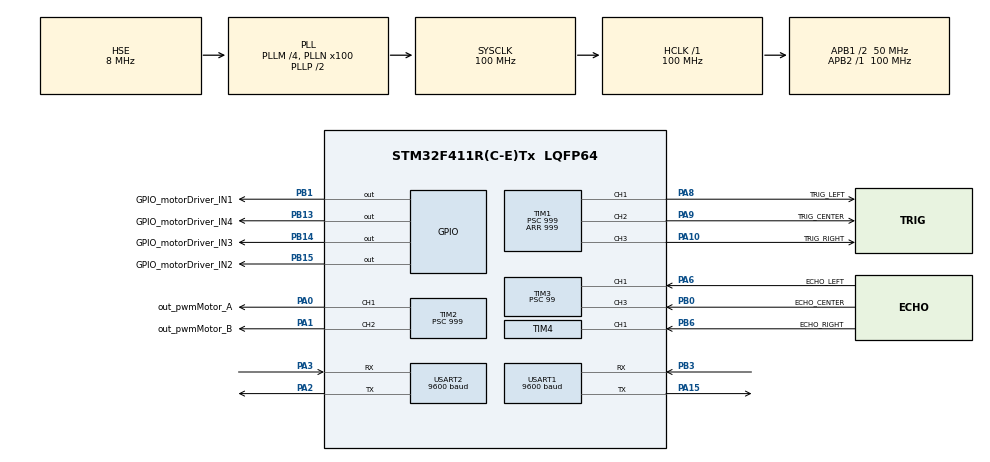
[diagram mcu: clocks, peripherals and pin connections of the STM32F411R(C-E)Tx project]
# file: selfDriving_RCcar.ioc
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Dma.Request0=USART1_RX
Dma.Request1=TIM3_CH1/TRIG
Dma.Request2=TIM3_CH2
Dma.Request3=TIM3_CH3
Dma.Request4=TIM3_CH4/UP
Dma.Request5=TIM4_CH1
Dma.Request6=TIM4_CH2
Dma.TIM3_CH1/TRIG.1.Direction=DMA_PERIPH_TO_MEMORY
Dma.TIM3_CH1/TRIG.1.FIFOMode=DMA_FIFOMODE_DISABLE
Dma.TIM3_CH1/TRIG.1.Instance=DMA1_Stream4
Dma.TIM3_CH1/TRIG.1.MemDataAlignment=DMA_MDATAALIGN_HALFWORD
Dma.TIM3_CH1/TRIG.1.MemInc=DMA_MINC_ENABLE
Dma.TIM3_CH1/TRIG.1.Mode=DMA_CIRCULAR
Dma.TIM3_CH1/TRIG.1.PeriphDataAlignment=DMA_PDATAALIGN_HALFWORD
Dma.TIM3_CH1/TRIG.1.PeriphInc=DMA_PINC_DISABLE
Dma.TIM3_CH1/TRIG.1.Priority=DMA_PRIORITY_LOW
Dma.TIM3_CH2.2.Direction=DMA_PERIPH_TO_MEMORY
Dma.TIM3_CH2.2.FIFOMode=DMA_FIFOMODE_DISABLE
Dma.TIM3_CH2.2.Instance=DMA1_Stream5
Dma.TIM3_CH2.2.MemDataAlignment=DMA_MDATAALIGN_HALFWORD
Dma.TIM3_CH2.2.MemInc=DMA_MINC_ENABLE
Dma.TIM3_CH2.2.Mode=DMA_CIRCULAR
Dma.TIM3_CH2.2.PeriphDataAlignment=DMA_PDATAALIGN_HALFWORD
Dma.TIM3_CH2.2.PeriphInc=DMA_PINC_DISABLE
Dma.TIM3_CH2.2.Priority=DMA_PRIORITY_LOW
Dma.TIM3_CH3.3.Direction=DMA_PERIPH_TO_MEMORY
Dma.TIM3_CH3.3.FIFOMode=DMA_FIFOMODE_DISABLE
Dma.TIM3_CH3.3.Instance=DMA1_Stream7
Dma.TIM3_CH3.3.MemDataAlignment=DMA_MDATAALIGN_HALFWORD
Dma.TIM3_CH3.3.MemInc=DMA_MINC_ENABLE
Dma.TIM3_CH3.3.Mode=DMA_CIRCULAR
Dma.TIM3_CH3.3.PeriphDataAlignment=DMA_PDATAALIGN_HALFWORD
Dma.TIM3_CH3.3.PeriphInc=DMA_PINC_DISABLE
Dma.TIM3_CH3.3.Priority=DMA_PRIORITY_LOW
Dma.TIM3_CH4/UP.4.Direction=DMA_PERIPH_TO_MEMORY
Dma.TIM3_CH4/UP.4.FIFOMode=DMA_FIFOMODE_DISABLE
Dma.TIM3_CH4/UP.4.Instance=DMA1_Stream2
Dma.TIM3_CH4/UP.4.MemDataAlignment=DMA_MDATAALIGN_HALFWORD
Dma.TIM3_CH4/UP.4.MemInc=DMA_MINC_ENABLE
Dma.TIM3_CH4/UP.4.Mode=DMA_CIRCULAR
Dma.TIM3_CH4/UP.4.PeriphDataAlignment=DMA_PDATAALIGN_HALFWORD
Dma.TIM3_CH4/UP.4.PeriphInc=DMA_PINC_DISABLE
Dma.TIM3_CH4/UP.4.Priority=DMA_PRIORITY_LOW
Dma.TIM4_CH1.5.Direction=DMA_PERIPH_TO_MEMORY
Dma.TIM4_CH1.5.FIFOMode=DMA_FIFOMODE_DISABLE
Dma.TIM4_CH1.5.Instance=DMA1_Stream0
Dma.TIM4_CH1.5.MemDataAlignment=DMA_MDATAALIGN_HALFWORD
Dma.TIM4_CH1.5.MemInc=DMA_MINC_ENABLE
Dma.TIM4_CH1.5.Mode=DMA_CIRCULAR
Dma.TIM4_CH1.5.PeriphDataAlignment=DMA_PDATAALIGN_HALFWORD
Dma.TIM4_CH1.5.PeriphInc=DMA_PINC_DISABLE
Dma.TIM4_CH1.5.Priority=DMA_PRIORITY_LOW
Dma.TIM4_CH2.6.Direction=DMA_PERIPH_TO_MEMORY
Dma.TIM4_CH2.6.FIFOMode=DMA_FIFOMODE_DISABLE
Dma.TIM4_CH2.6.Instance=DMA1_Stream3
Dma.TIM4_CH2.6.MemDataAlignment=DMA_MDATAALIGN_HALFWORD
Dma.TIM4_CH2.6.MemInc=DMA_MINC_ENABLE
Dma.TIM4_CH2.6.Mode=DMA_CIRCULAR
Dma.TIM4_CH2.6.PeriphDataAlignment=DMA_PDATAALIGN_HALFWORD
Dma.TIM4_CH2.6.PeriphInc=DMA_PINC_DISABLE
Dma.TIM4_CH2.6.Priority=DMA_PRIORITY_LOW
Dma.USART1_RX.0.Direction=DMA_PERIPH_TO_MEMORY
Dma.USART1_RX.0.FIFOMode=DMA_FIFOMODE_DISABLE
Dma.USART1_RX.0.Instance=DMA2_Stream2
Dma.USART1_RX.0.MemDataAlignment=DMA_MDATAALIGN_BYTE
Dma.USART1_RX.0.MemInc=DMA_MINC_ENABLE
Dma.USART1_RX.0.Mode=DMA_NORMAL
Dma.USART1_RX.0.PeriphDataAlignment=DMA_PDATAALIGN_BYTE
Dma.USART1_RX.0.PeriphInc=DMA_PINC_DISABLE
Dma.USART1_RX.0.Priority=DMA_PRIORITY_LOW
FREERTOS.Tasks01=auto_drive_task,24,128,StartTask_auto_drive,Default,NULL,Dynamic,NULL,NULL;get_echo_time,24,128,StartTask_get_echo_time,Default,NULL,Dynamic,NULL,NULL;print_sensor_va,8,128,StartTask_print_sensor_value,Default,NULL,Dynamic,NULL,NULL
FREERTOS.configUSE_NEWLIB_REENTRANT=1
Mcu.Family=STM32F4
Mcu.Name=STM32F411R(C-E)Tx
Mcu.Package=LQFP64
Mcu.UserConstants=huart_bluetooth,$$_USART1_IP_HANDLE_$$;htim_echoMeasure_1,$$_TIM3_IP_HANDLE_$$;htim_echoMeasure_2,$$_TIM4_IP_HANDLE_$$;htim_triggerPulse,$$_TIM1_IP_HANDLE_$$;htim_pwmMotor,$$_TIM2_IP_HANDLE_$$
NVIC.DMA1_Stream0_IRQn=true\:5\:0\:false\:false\:true\:true\:false\:true\:true
NVIC.DMA1_Stream2_IRQn=true\:5\:0\:false\:false\:true\:true\:false\:true\:true
NVIC.DMA1_Stream3_IRQn=true\:5\:0\:false\:false\:true\:true\:false\:true\:true
NVIC.DMA1_Stream4_IRQn=true\:5\:0\:false\:false\:true\:true\:false\:true\:true
NVIC.DMA1_Stream5_IRQn=true\:5\:0\:false\:false\:true\:true\:false\:true\:true
NVIC.DMA1_Stream7_IRQn=true\:5\:0\:false\:false\:true\:true\:false\:true\:true
NVIC.DMA2_Stream2_IRQn=true\:5\:0\:false\:false\:true\:true\:false\:true\:true
NVIC.PriorityGroup=NVIC_PRIORITYGROUP_4
NVIC.TIM1_TRG_COM_TIM11_IRQn=true\:5\:0\:false\:false\:true\:false\:false\:true\:true
NVIC.TimeBase=TIM1_TRG_COM_TIM11_IRQn
NVIC.TimeBaseIP=TIM11
NVIC.USART1_IRQn=true\:5\:0\:false\:false\:true\:true\:true\:true\:true
NVIC.USART2_IRQn=true\:5\:0\:false\:false\:true\:true\:true\:true\:true
PA0-WKUP.GPIO_Label=out_pwmMotor_A
PA0-WKUP.GPIO_Speed=GPIO_SPEED_FREQ_HIGH
PA0-WKUP.Signal=S_TIM2_CH1_ETR
PA1.GPIO_Label=out_pwmMotor_B
PA1.GPIO_Speed=GPIO_SPEED_FREQ_HIGH
PA1.Signal=S_TIM2_CH2
PA10.GPIO_Label=TRIG_RIGHT
PA10.GPIO_Speed=GPIO_SPEED_FREQ_VERY_HIGH
PA10.Signal=S_TIM1_CH3
PA13.Mode=Serial_Wire
PA13.Signal=SYS_JTMS-SWDIO
PA14.Mode=Serial_Wire
PA14.Signal=SYS_JTCK-SWCLK
PA15.Mode=Asynchronous
PA15.Signal=USART1_TX
PA2.Mode=Asynchronous
PA2.Signal=USART2_TX
PA3.Mode=Asynchronous
PA3.Signal=USART2_RX
PA6.GPIO_Label=ECHO_LEFT
PA6.GPIO_Speed=GPIO_SPEED_FREQ_VERY_HIGH
PA6.Signal=S_TIM3_CH1
PA8.GPIO_Label=TRIG_LEFT
PA8.GPIO_Speed=GPIO_SPEED_FREQ_VERY_HIGH
PA8.Signal=S_TIM1_CH1
PA9.GPIO_Label=TRIG_CENTER
PA9.GPIO_Speed=GPIO_SPEED_FREQ_VERY_HIGH
PA9.Signal=S_TIM1_CH2
PB0.GPIO_Label=ECHO_CENTER
PB0.GPIO_Speed=GPIO_SPEED_FREQ_VERY_HIGH
PB0.Signal=S_TIM3_CH3
PB1.GPIO_Label=GPIO_motorDriver_IN1
PB1.GPIO_Speed=GPIO_SPEED_FREQ_HIGH
PB1.Signal=GPIO_Output
PB13.GPIO_Label=GPIO_motorDriver_IN4
PB13.GPIO_Speed=GPIO_SPEED_FREQ_HIGH
PB13.Signal=GPIO_Output
PB14.GPIO_Label=GPIO_motorDriver_IN3
PB14.GPIO_Speed=GPIO_SPEED_FREQ_HIGH
PB14.Signal=GPIO_Output
PB15.GPIO_Label=GPIO_motorDriver_IN2
PB15.GPIO_Speed=GPIO_SPEED_FREQ_HIGH
PB15.Signal=GPIO_Output
PB3.Mode=Asynchronous
PB3.Signal=USART1_RX
PB6.GPIO_Label=ECHO_RIGHT
PB6.GPIO_Speed=GPIO_SPEED_FREQ_VERY_HIGH
PB6.Signal=S_TIM4_CH1
PH0\ -\ OSC_IN.Mode=HSE-External-Oscillator
PH0\ -\ OSC_IN.Signal=RCC_OSC_IN
PH1\ -\ OSC_OUT.Mode=HSE-External-Oscillator
PH1\ -\ OSC_OUT.Signal=RCC_OSC_OUT
ProjectManager.HeapSize=0x200
ProjectManager.StackSize=0x400
ProjectManager.TargetToolchain=STM32CubeIDE
RCC.48MHZClocksFreq_Value=50000000
RCC.AHBFreq_Value=100000000
RCC.APB1CLKDivider=RCC_HCLK_DIV2
RCC.APB1Freq_Value=50000000
RCC.APB1TimFreq_Value=100000000
RCC.APB2Freq_Value=100000000
RCC.APB2TimFreq_Value=100000000
RCC.CortexFreq_Value=100000000
RCC.HCLKFreq_Value=100000000
RCC.HSE_VALUE=8000000
RCC.HSI_VALUE=16000000
RCC.LSE_VALUE=32768
RCC.PLLM=4
RCC.PLLN=100
RCC.PLLSourceVirtual=RCC_PLLSOURCE_HSE
RCC.SYSCLKFreq_VALUE=100000000
RCC.SYSCLKSource=RCC_SYSCLKSOURCE_PLLCLK
RCC.VCOOutputFreq_Value=200000000
SH.S_TIM1_CH1.0=TIM1_CH1,PWM Generation1 CH1
SH.S_TIM1_CH2.0=TIM1_CH2,PWM Generation2 CH2
SH.S_TIM1_CH3.0=TIM1_CH3,PWM Generation3 CH3
SH.S_TIM2_CH1_ETR.0=TIM2_CH1,PWM Generation1 CH1
SH.S_TIM2_CH2.0=TIM2_CH2,PWM Generation2 CH2
SH.S_TIM3_CH1.0=TIM3_CH1,Input_Capture1_from_TI1
SH.S_TIM3_CH3.0=TIM3_CH3,Input_Capture3_from_TI3
SH.S_TIM4_CH1.0=TIM4_CH1,Input_Capture1_from_TI1
TIM1.Channel-PWM\ Generation1\ CH1=TIM_CHANNEL_1
TIM1.Channel-PWM\ Generation2\ CH2=TIM_CHANNEL_2
TIM1.Channel-PWM\ Generation3\ CH3=TIM_CHANNEL_3
TIM1.OCFastMode_PWM-PWM\ Generation1\ CH1=TIM_OCFAST_ENABLE
TIM1.OCFastMode_PWM-PWM\ Generation2\ CH2=TIM_OCFAST_ENABLE
TIM1.OCFastMode_PWM-PWM\ Generation3\ CH3=TIM_OCFAST_ENABLE
TIM1.Period=999
TIM1.Prescaler=999
TIM1.Pulse-PWM\ Generation1\ CH1=1
TIM1.Pulse-PWM\ Generation2\ CH2=1
TIM1.Pulse-PWM\ Generation3\ CH3=1
TIM2.Channel-PWM\ Generation1\ CH1=TIM_CHANNEL_1
TIM2.Channel-PWM\ Generation2\ CH2=TIM_CHANNEL_2
TIM2.Period=999
TIM2.Prescaler=999
TIM3.Channel-Input_Capture1_from_TI1=TIM_CHANNEL_1
TIM3.Channel-Input_Capture2_from_TI1_63=TIM_CHANNEL_2
TIM3.Channel-Input_Capture3_from_TI3=TIM_CHANNEL_3
TIM3.Channel-Input_Capture4_from_TI3_63=TIM_CHANNEL_4
TIM3.ICPolarity_CH2=TIM_INPUTCHANNELPOLARITY_FALLING
TIM3.ICPolarity_CH4=TIM_INPUTCHANNELPOLARITY_FALLING
TIM3.Prescaler=99
TIM4.Channel-Input_Capture1_from_TI1=TIM_CHANNEL_1
TIM4.Channel-Input_Capture2_from_TI1_63=TIM_CHANNEL_2
TIM4.ICPolarity_CH2=TIM_INPUTCHANNELPOLARITY_FALLING
TIM4.Prescaler=99
USART1.BaudRate=9600
USART1.VirtualMode=VM_ASYNC
USART2.BaudRate=9600
USART2.VirtualMode=VM_ASYNC
VP_FREERTOS_VS_CMSIS_V2.Mode=CMSIS_V2
VP_SYS_VS_tim11.Mode=TIM11
VP_TIM1_VS_ClockSourceINT.Mode=Internal
VP_TIM2_VS_ClockSourceINT.Mode=Internal
VP_TIM3_VS_ClockSourceINT.Mode=Internal
VP_TIM3_VS_indirect_ch1.Mode=Input_Capture2_from_TI1_63
VP_TIM3_VS_indirect_ch3.Mode=Input_Capture4_from_TI3_63
VP_TIM4_VS_ClockSourceINT.Mode=Internal
VP_TIM4_VS_indirect_ch1.Mode=Input_Capture2_from_TI1_63
board=custom

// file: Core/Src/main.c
/* USER CODE BEGIN Header */
/**
  ******************************************************************************
  * @file           : main.c
  * @brief          : Main program body
  ******************************************************************************
  * @attention
  *
  * Copyright (c) 2024 STMicroelectronics.
  * All rights reserved.
  *
  * This software is licensed under terms that can be found in the LICENSE file
  * in the root directory of this software component.
  * If no LICENSE file comes with this software, it is provided AS-IS.
  *
  ******************************************************************************
  * Pinout
  *
  *				C10		C11										C9		C8
  *				C12		D2										B8		C6
  *				VDD		E5V		BAT_POWER						B9		C5
  *				BOOT0	GND		BAT_GND							AVDD	U5V
  *				NC		NC										GND		NC
  *				NC		IOREF									A5		A12
  *				A13		RESET					ECHO_LEFT		A6		A11
  *				A14		3V3										A7		B12
  *	USART1 TX	A15		5V		BT_POWER		ECHO_RIGHT		B6		NC
  *				GND		GND		BT_GND							C7		GND
  *				B7		GND						TRIG_CENTER		A9		B2
  *				C13		VIN						TRIG_LEFT		A8		B1		IN1
  *				C14		NC										B10		B15		IN2
  *				C15		A0		MOTOR_A							B4		B14		IN3
  *				H0		A1		MOTOR_B							B5		B13		IN4
  *				H1		A4						USART1 RX		B3		AGND
  *				VBAT	B0		ECHO_CENTER		TRIG_RIGHT		A10		C4
  *				C2		C1										A2		NC
  *				C3		C0										A3		NC
  ******************************************************************************
  *
  */
/* USER CODE END Header */
#include "main.h"
#include "cmsis_os.h"
#include "dma.h"
#include "tim.h"
#include "usart.h"
#include "gpio.h"

/* USER CODE BEGIN PV */
char rxBuffer[20];
int32_t echo_left_time_us, echo_center_time_us, echo_right_time_us;
uint8_t mode_auto_manu = 0, mode_deadlock_normal = 0, mode_monitor_on_off = 0;
uint16_t echo_left_time_queue[VALUE_QUEUE_SIZE] = {0, }, echo_center_time_queue[VALUE_QUEUE_SIZE] = {0, }, echo_right_time_queue[VALUE_QUEUE_SIZE] = {0, };
uint8_t echo_left_time_queue_index = 0, echo_center_time_queue_index = 0, echo_right_time_queue_index = 0;
uint32_t echo_left_rise_time, echo_left_fall_time;
uint32_t echo_center_rise_time, echo_center_fall_time;
uint32_t echo_right_rise_time, echo_right_fall_time;
float left_motor_duty_float, right_motor_duty_float;
int left_motor_duty_int, right_motor_duty_int;
int left_motor_duty_int_raw, right_motor_duty_int_raw;
uint8_t arbitrary_turn_right_left = 0;
uint32_t deadlock_threshold = 800;
float kps = 1, kis = 0, kds = 0;
float kpl = 1, kil = 0, kdl = 0;
float kpr = 1, kir = 0, kdr = 0;
float integral_straight = 0, integral_left = 0, integral_right;
float opposite_constant = 1;
float sensor_value_max_speed = 2000, sensor_value_dir_change = 600, deadlock_threshold_value = 400;

/* USER CODE END PV */

void SystemClock_Config(void);
void MX_FREERTOS_Init(void);
/* USER CODE BEGIN PFP */
#ifdef __GNUC__
  /* With GCC, small printf (option LD Linker->Libraries->Small printf
     set to 'Yes') calls __io_putchar() */
  #define PUTCHAR_PROTOTYPE int __io_putchar(int ch)
#else
  #define PUTCHAR_PROTOTYPE int fputc(int ch, FILE *f)
#endif /* __GNUC__ */
/* USER CODE END PFP */

/* USER CODE BEGIN 0 */
PUTCHAR_PROTOTYPE
{
  /* Place your implementation of fputc here */
  /* e.g. write a character to the USART3 and Loop until the end of transmission */
  HAL_UART_Transmit(&huart_bluetooth, (uint8_t *) &ch, 1, 0xFFFF);

  return ch;
}
/* USER CODE END 0 */

int main(void)
{

  /* MCU Configuration--------------------------------------------------------*/

  /* Reset of all peripherals, Initializes the Flash interface and the Systick. */
  HAL_Init();

  /* Configure the system clock */
  SystemClock_Config();

  /* Initialize all configured peripherals */
  MX_GPIO_Init();
  MX_DMA_Init();
  MX_TIM3_Init();
  MX_USART1_UART_Init();
  MX_USART2_UART_Init();
  MX_TIM4_Init();
  MX_TIM1_Init();
  MX_TIM2_Init();
  /* USER CODE BEGIN 2 */
  pwmMotor_init(&htim_pwmMotor, CHANNEL_MOTOR_A);
  pwmMotor_init(&htim_pwmMotor, CHANNEL_MOTOR_B);

  HAL_TIM_PWM_Start(&htim_triggerPulse, CHANNEL_TRIG_LEFT);
  HAL_TIM_PWM_Start(&htim_triggerPulse, CHANNEL_TRIG_CENTER);
  HAL_TIM_PWM_Start(&htim_triggerPulse, CHANNEL_TRIG_RIGHT);

  HAL_TIM_IC_Start_DMA(&htim_echoMeasure_1, CHANNEL_ECHO_LEFT_RISING, &echo_left_rise_time, 1);
  HAL_TIM_IC_Start_DMA(&htim_echoMeasure_1, CHANNEL_ECHO_LEFT_FALLING, &echo_left_fall_time, 1);
  HAL_TIM_IC_Start_DMA(&htim_echoMeasure_1, CHANNEL_ECHO_CENTER_RISING, &echo_center_rise_time, 1);
  HAL_TIM_IC_Start_DMA(&htim_echoMeasure_1, CHANNEL_ECHO_CENTER_FALLING, &echo_center_fall_time, 1);
  HAL_TIM_IC_Start_DMA(&htim_echoMeasure_2, CHANNEL_ECHO_RIGHT_RISING, &echo_right_rise_time, 1);
  HAL_TIM_IC_Start_DMA(&htim_echoMeasure_2, CHANNEL_ECHO_RIGHT_FALLING, &echo_right_fall_time, 1);

  HAL_UARTEx_ReceiveToIdle_DMA(&huart_bluetooth, (uint8_t*) rxBuffer, 20);

  printf("\nProgram start\nFor available commands, type \"help\".\n");
  /* USER CODE END 2 */

  /* Init scheduler */
  osKernelInitialize();

  /* Call init function for freertos objects (in cmsis_os2.c) */
  MX_FREERTOS_Init();

  /* Start scheduler */
  osKernelStart();

  /* We should never get here as control is now taken by the scheduler */

  /* Infinite loop */
  while (1)
  {

  }
}

void SystemClock_Config(void)
{
  RCC_OscInitTypeDef RCC_OscInitStruct = {0};
  RCC_ClkInitTypeDef RCC_ClkInitStruct = {0};

  /** Configure the main internal regulator output voltage
  */
  __HAL_RCC_PWR_CLK_ENABLE();
  __HAL_PWR_VOLTAGESCALING_CONFIG(PWR_REGULATOR_VOLTAGE_SCALE1);

  /** Initializes the RCC Oscillators according to the specified parameters
  * in the RCC_OscInitTypeDef structure.
  */
  RCC_OscInitStruct.OscillatorType = RCC_OSCILLATORTYPE_HSE;
  RCC_OscInitStruct.HSEState = RCC_HSE_ON;
  RCC_OscInitStruct.PLL.PLLState = RCC_PLL_ON;
  RCC_OscInitStruct.PLL.PLLSource = RCC_PLLSOURCE_HSE;
  RCC_OscInitStruct.PLL.PLLM = 4;
  RCC_OscInitStruct.PLL.PLLN = 100;
  RCC_OscInitStruct.PLL.PLLP = RCC_PLLP_DIV2;
  RCC_OscInitStruct.PLL.PLLQ = 4;
  if (HAL_RCC_OscConfig(&RCC_OscInitStruct) != HAL_OK)
  {
    Error_Handler();
  }

  /** Initializes the CPU, AHB and APB buses clocks
  */
  RCC_ClkInitStruct.ClockType = RCC_CLOCKTYPE_HCLK|RCC_CLOCKTYPE_SYSCLK
                              |RCC_CLOCKTYPE_PCLK1|RCC_CLOCKTYPE_PCLK2;
  RCC_ClkInitStruct.SYSCLKSource = RCC_SYSCLKSOURCE_PLLCLK;
  RCC_ClkInitStruct.AHBCLKDivider = RCC_SYSCLK_DIV1;
  RCC_ClkInitStruct.APB1CLKDivider = RCC_HCLK_DIV2;
  RCC_ClkInitStruct.APB2CLKDivider = RCC_HCLK_DIV1;

  if (HAL_RCC_ClockConfig(&RCC_ClkInitStruct, FLASH_LATENCY_3) != HAL_OK)
  {
    Error_Handler();
  }
}

void HAL_TIM_PeriodElapsedCallback(TIM_HandleTypeDef *htim)
{
  if (htim->Instance == TIM11) {
    HAL_IncTick();
  }
}

void Error_Handler(void)
{
  __disable_irq();
  while (1)
  {
  }
}

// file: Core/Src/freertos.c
/* USER CODE BEGIN Header */
/**
  ******************************************************************************
  * File Name          : freertos.c
  * Description        : Code for freertos applications
  ******************************************************************************
  * @attention
  *
  * Copyright (c) 2024 STMicroelectronics.
  * All rights reserved.
  *
  * This software is licensed under terms that can be found in the LICENSE file
  * in the root directory of this software component.
  * If no LICENSE file comes with this software, it is provided AS-IS.
  *
  ******************************************************************************
  */
/* USER CODE END Header */

#include "FreeRTOS.h"
#include "task.h"
#include "main.h"
#include "cmsis_os.h"

/* Definitions for auto_drive_task */
osThreadId_t auto_drive_taskHandle;
const osThreadAttr_t auto_drive_task_attributes = {
  .name = "auto_drive_task",
  .stack_size = 128 * 4,
  .priority = (osPriority_t) osPriorityNormal,
};
/* Definitions for get_echo_time */
osThreadId_t get_echo_timeHandle;
const osThreadAttr_t get_echo_time_attributes = {
  .name = "get_echo_time",
  .stack_size = 128 * 4,
  .priority = (osPriority_t) osPriorityNormal,
};
/* Definitions for print_sensor_va */
osThreadId_t print_sensor_vaHandle;
const osThreadAttr_t print_sensor_va_attributes = {
  .name = "print_sensor_va",
  .stack_size = 128 * 4,
  .priority = (osPriority_t) osPriorityLow,
};

void StartTask_auto_drive(void *argument);
void StartTask_get_echo_time(void *argument);
void StartTask_print_sensor_value(void *argument);

void MX_FREERTOS_Init(void); /* (MISRA C 2004 rule 8.1) */

void MX_FREERTOS_Init(void) {

  /* Create the thread(s) */
  /* creation of auto_drive_task */
  auto_drive_taskHandle = osThreadNew(StartTask_auto_drive, NULL, &auto_drive_task_attributes);

  /* creation of get_echo_time */
  get_echo_timeHandle = osThreadNew(StartTask_get_echo_time, NULL, &get_echo_time_attributes);

  /* creation of print_sensor_va */
  print_sensor_vaHandle = osThreadNew(StartTask_print_sensor_value, NULL, &print_sensor_va_attributes);

}

/* USER CODE BEGIN Header_StartTask_auto_drive */
/**
* @brief Function implementing the auto_drive thread.
* @param argument: Not used
* @retval None
*/
// positive error means positive motor power. target and current value position swapped.
float pid_process (float current_value, float target_value, float kp, float ki, float kd, float dt, float* integral_arr_ptr, uint8_t* integral_index_ptr, float* prev_value_ptr)
{
	float error = current_value - target_value;
	float p_term = kp * error;
	integral_arr_ptr[*integral_index_ptr] = error * dt;
	if (*integral_index_ptr > INTEGRAL_ARR_NUM) *integral_index_ptr = 0;
	float integral_sum = 0;
	for (uint8_t i=0; i<INTEGRAL_ARR_NUM; ++i)
	{
		integral_sum += integral_arr_ptr[i];
	}
	float i_term = ki * integral_sum;
	float d_term = kd * (current_value - *prev_value_ptr) / dt;
	*prev_value_ptr = current_value;

	return p_term + i_term - d_term;
}

// return absolute value of float
float float_abs(float input_float)
{
	if (input_float > 0) return input_float;
	else return (-1 * input_float);
}

#define SAMPLE_TIME_S 0.01

float prev_value_straight = 0, prev_value_left = 0, prev_value_right = 0;
/* USER CODE END Header_StartTask_auto_drive */
void StartTask_auto_drive(void *argument)
{
	/* USER CODE BEGIN StartTask_auto_drive */

	osDelay(1000);
	deadlock_threshold = deadlock_threshold_value;
	/* Infinite loop */
	for(;;)
	{
		//////////////////////////
		// VARIABLE DECLARATION //
		//////////////////////////

		// Sensor value truncated
		float echo_left_time_us_trunc, echo_center_time_us_trunc, echo_right_time_us_trunc;

		float straight_power;	// Straight direction motor power
		float left_power, right_power;	// One-side motor power
		float opposite_left_power, opposite_right_power;	// The other-side motor power

		float left_weight_sum, right_weight_sum;	// sum for weight calculation

		if (mode_auto_manu || mode_monitor_on_off)
		{
			///////////////////////////
			// SENSOR VALUE TRUNCATE //
			///////////////////////////

			if (echo_left_time_us > sensor_value_max_speed) echo_left_time_us_trunc = sensor_value_max_speed;
			else echo_left_time_us_trunc = echo_left_time_us;
			if (echo_center_time_us > sensor_value_max_speed) echo_center_time_us_trunc = sensor_value_max_speed;
			else echo_center_time_us_trunc = echo_center_time_us;
			if (echo_right_time_us > sensor_value_max_speed) echo_right_time_us_trunc = sensor_value_max_speed;
			else echo_right_time_us_trunc = echo_right_time_us;

			////////////////////////
			// DEADLOCK DETECTION //
			////////////////////////

			float center_to_left = float_abs(echo_center_time_us_trunc - echo_left_time_us_trunc);
			float center_to_right = float_abs(echo_right_time_us_trunc - echo_left_time_us_trunc);
			if ((echo_left_time_us_trunc < deadlock_threshold) && (echo_center_time_us_trunc < deadlock_threshold) && (echo_right_time_us_trunc < deadlock_threshold))
			{
				if (center_to_left < (deadlock_threshold / 20) && center_to_right < (deadlock_threshold / 20))
				{
					if (!mode_deadlock_normal)
					{
						if (mode_monitor_on_off) printf("Deadlock mode on\n");
						arbitrary_turn_right_left = !arbitrary_turn_right_left;
					}
					mode_deadlock_normal = 1;
					deadlock_threshold = deadlock_threshold_value * 1.5;
				}
			}
			else
			{
				if (center_to_left > (deadlock_threshold / 20) || center_to_right > (deadlock_threshold / 20))
				{
					if (mode_deadlock_normal)
					{
						if (mode_monitor_on_off) printf("Deadlock mode off\n");
					}
					mode_deadlock_normal = 0;
					deadlock_threshold = deadlock_threshold_value;
				}
			}

			////////////////
			// AUTO-DRIVE //
			////////////////

			float sensor_max_value = sensor_value_max_speed - sensor_value_dir_change;

			// Hard-coded value if deadlocked
			if (mode_deadlock_normal)
			{
				if (arbitrary_turn_right_left)
				{
					left_motor_duty_float = 0;
					right_motor_duty_float = -1 * sensor_max_value;

				}
				else
				{
					left_motor_duty_float = -1 * sensor_max_value;
					right_motor_duty_float = 0;
				}
			}

			// Normal operation
			else
			{
				straight_power = pid_process (echo_center_time_us_trunc, sensor_value_dir_change, kps, kis, kds, SAMPLE_TIME_S, integral_straight_arr, &integral_straight_index, &prev_value_straight);
				left_power = pid_process (echo_right_time_us_trunc, sensor_value_dir_change, kpl, kil, kdl, SAMPLE_TIME_S, integral_left_arr, &integral_left_index, &prev_value_left);
				right_power = pid_process (echo_left_time_us_trunc, sensor_value_dir_change, kpr, kir, kdr, SAMPLE_TIME_S, integral_right_arr, &integral_right_index, &prev_value_right);

				// The less angle difference, the more straight power
				float angle_diff_percent = float_abs(left_power - right_power)/ sensor_max_value;
				left_power *= angle_diff_percent;
				right_power *= angle_diff_percent;
				straight_power *= (1-angle_diff_percent);

				opposite_left_power = left_power * opposite_constant;
				opposite_right_power = right_power * opposite_constant;

				// sum of weigth calculation
				left_weight_sum = float_abs(straight_power) + float_abs(left_power) + float_abs(opposite_right_power);
				right_weight_sum = float_abs(straight_power) + float_abs(right_power) + float_abs(opposite_left_power);

				// Get motor power. The more value, the more weight
				float left_motor_straight_power = float_abs(straight_power) / left_weight_sum * straight_power;
				float left_motor_curve_power = float_abs(left_power) / left_weight_sum * left_power - float_abs(opposite_right_power) / left_weight_sum * opposite_right_power;
				float right_motor_straight_power = float_abs(straight_power) / right_weight_sum * straight_power;
				float right_motor_curve_power = float_abs(right_power) / right_weight_sum * right_power - float_abs(opposite_left_power) / right_weight_sum * opposite_left_power;

				left_motor_duty_float = left_motor_straight_power + left_motor_curve_power;
				right_motor_duty_float = right_motor_straight_power + right_motor_curve_power;
			}

			// motor value normalize to percentage
			if (left_motor_duty_float < 1 &&  left_motor_duty_float > -1) left_motor_duty_float = 0;
			else if (left_motor_duty_float > 0) left_motor_duty_float = left_motor_duty_float / sensor_max_value * (100 - 43) + 43;
			else if (left_motor_duty_float < 0) left_motor_duty_float = left_motor_duty_float / sensor_max_value * (100 - 43) - 43;
			if (right_motor_duty_float < 1 &&  right_motor_duty_float > -1) right_motor_duty_float = 0;
			else if (right_motor_duty_float > 0) right_motor_duty_float = right_motor_duty_float / sensor_max_value * (100 - 43) + 43;
			else if (right_motor_duty_float < 0) right_motor_duty_float = right_motor_duty_float / sensor_max_value * (100 - 43) - 43;

			// convert to integer value
			left_motor_duty_int = (int) left_motor_duty_float;
			right_motor_duty_int = (int) right_motor_duty_float;

			if (mode_auto_manu) RCcar_set_motor_speed(left_motor_duty_int, right_motor_duty_int);
		}

		osDelay(SAMPLE_TIME_S * 1000.0);
	}
	/* USER CODE END StartTask_auto_drive */
}

void StartTask_get_echo_time(void *argument)
{
  /* USER CODE BEGIN StartTask_get_echo_time */
  osDelay(100);
  /* Infinite loop */
  for(;;)
  {
	int echo_left_time_us_temp, echo_center_time_us_temp, echo_right_time_us_temp;

	if (echo_left_fall_time > echo_left_rise_time) echo_left_time_us_temp = echo_left_fall_time - echo_left_rise_time;
	if (echo_center_fall_time > echo_center_rise_time) echo_center_time_us_temp = echo_center_fall_time - echo_center_rise_time;
	if (echo_right_fall_time > echo_right_rise_time) echo_right_time_us_temp = echo_right_fall_time - echo_right_rise_time;

	// reject too high values
	if (echo_left_time_us_temp < SENSOR_VALUE_THRESHOLD) echo_left_time_queue[echo_left_time_queue_index++] = echo_left_time_us_temp;
	if (echo_center_time_us_temp < SENSOR_VALUE_THRESHOLD) echo_center_time_queue[echo_center_time_queue_index++] = echo_center_time_us_temp;
	if (echo_right_time_us_temp < SENSOR_VALUE_THRESHOLD) echo_right_time_queue[echo_right_time_queue_index++] = echo_right_time_us_temp;

	int echo_left_sum = 0, echo_center_sum = 0, echo_right_sum = 0;
	for (uint8_t i=0; i<VALUE_QUEUE_SIZE; ++i)
	{
		echo_left_sum += echo_left_time_queue[i];
		echo_center_sum += echo_center_time_queue[i];
		echo_right_sum += echo_right_time_queue[i];
	}

	echo_left_time_us = echo_left_sum / VALUE_QUEUE_SIZE;
	echo_center_time_us = echo_center_sum / VALUE_QUEUE_SIZE;
	echo_right_time_us = echo_right_sum / VALUE_QUEUE_SIZE;

	if (echo_left_time_queue_index >= VALUE_QUEUE_SIZE) echo_left_time_queue_index = 0;
	if (echo_center_time_queue_index >= VALUE_QUEUE_SIZE) echo_center_time_queue_index = 0;
	if (echo_right_time_queue_index >= VALUE_QUEUE_SIZE) echo_right_time_queue_index = 0;

    osDelay(SAMPLE_TIME_S * 1000.0);
  }
  /* USER CODE END StartTask_get_echo_time */
}

void StartTask_print_sensor_value(void *argument)
{
  /* USER CODE BEGIN StartTask_print_sensor_value */
  osDelay(1000);
  /* Infinite loop */
  for(;;)
  {
	  if (mode_monitor_on_off)
	  {
		  printf("%5lu %5lu %5lu || ", echo_left_time_us, echo_center_time_us, echo_right_time_us);
		  printf("L: %+3d R:%+3d\n", left_motor_duty_int, right_motor_duty_int);
	  }

	  osDelay(1000);
  }
  /* USER CODE END StartTask_print_sensor_value */
}
